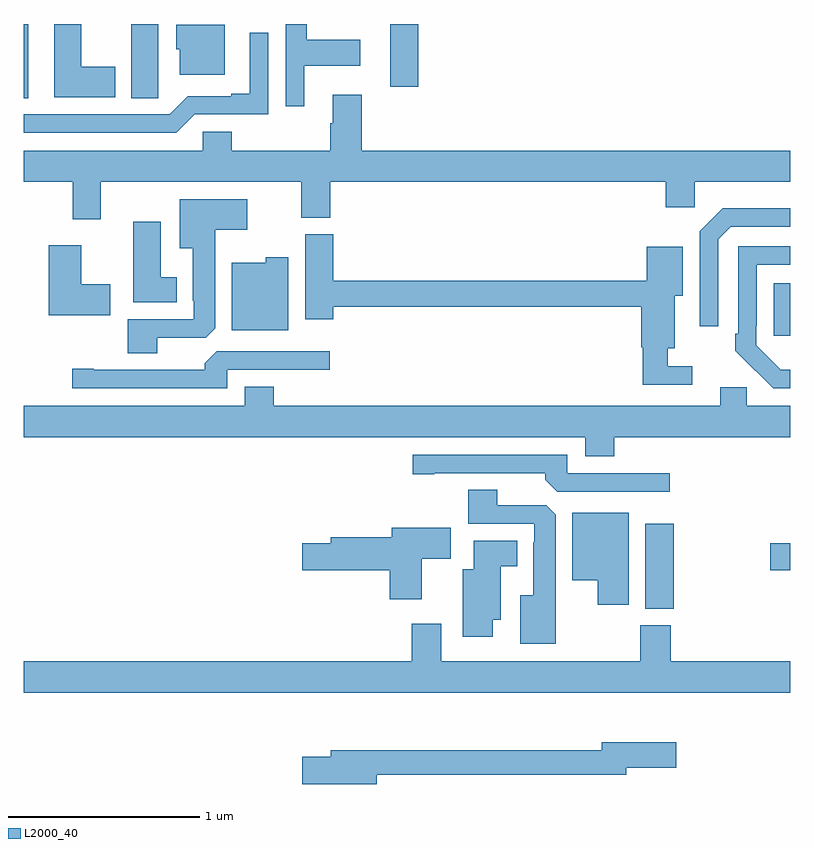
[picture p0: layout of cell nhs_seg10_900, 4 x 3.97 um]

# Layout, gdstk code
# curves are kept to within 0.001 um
import gdstk
lib = gdstk.Library(unit=1e-6, precision=1e-09)
def R(c, l, rs):  # rectangles x0, y0, x1, y1
    for r in rs: c.add(gdstk.rectangle(r[:2], r[2:], *l))
def P(c, l, *ps):  # polygons
    for p in ps: c.add(gdstk.Polygon(p, *l))
L2000_40 = (2000, 40)

nhs_seg10_900 = lib.new_cell('nhs_seg10_900')
R(nhs_seg10_900, L2000_40, [(160.244,1271.449,160.391,1271.893), (160.896,1271.65,161,1271.792), (160.913,1272.873,161,1273.147), (157,1274.113,157.024,1274.5), (158.912,1274.172,159.059,1274.5)])
P(nhs_seg10_900, L2000_40, [(157.701,1274.224),(157.702,1274.224),(157.702,1274.5),(157.562,1274.5),(157.562,1274.113),(157.701,1274.113)],
  [(157.477,1274.277),(157.3,1274.277),(157.3,1274.5),(157.16,1274.5),(157.16,1274.117),(157.477,1274.117)],
  [(158.464,1274.282),(158.755,1274.282),(158.755,1274.417),(158.476,1274.417),(158.476,1274.5),(158.367,1274.5),(158.367,1274.07),(158.464,1274.07)],
  [(158.05,1274.497),(157.796,1274.497),(157.796,1274.367),(157.814,1274.367),(157.814,1274.234),(158.05,1274.234)],
  [(157.893,1274.028),(158.277,1274.028),(158.277,1274.455),(158.18,1274.455),(158.18,1274.137),(158.084,1274.137),(158.084,1274.124),(157.857,1274.124),(157.761,1274.028),(157,1274.028),(157,1273.932),(157.797,1273.932)],
  [(157.402,1273.676),(158.447,1273.676),(158.447,1273.489),(158.6,1273.489),(158.6,1273.676),(160.349,1273.676),(160.349,1273.545),(160.5,1273.545),(160.5,1273.676),(161,1273.676),(161,1273.84),(158.765,1273.84),(158.765,1274.131),(158.612,1274.131),(158.612,1273.982),(158.6,1273.982),(158.6,1273.84),(158.087,1273.84),(158.087,1273.938),(157.935,1273.938),(157.935,1273.84),(157,1273.84),(157,1273.676),(157.255,1273.676),(157.255,1273.482),(157.402,1273.482)],
  [(157.696,1272.864),(157.95,1272.864),(157.999,1272.913),(157.999,1273.427),(158.167,1273.427),(158.167,1273.585),(157.814,1273.585),(157.814,1273.331),(157.883,1273.331),(157.883,1273.057),(157.887,1273.057),(157.887,1272.96),(157.544,1272.96),(157.544,1272.781),(157.696,1272.781)],
  [(160.623,1273.377),(160.689,1273.443),(161,1273.443),(161,1273.54),(160.648,1273.54),(160.527,1273.419),(160.527,1272.924),(160.623,1272.924)],
  [(157.798,1273.18),(157.714,1273.18),(157.714,1273.468),(157.571,1273.468),(157.571,1273.049),(157.798,1273.049)],
  [(160.489,1272.714),(160.36,1272.714),(160.36,1272.809),(160.396,1272.809),(160.396,1273.082),(160.438,1273.082),(160.438,1273.339),(160.25,1273.339),(160.25,1273.16),(158.615,1273.16),(158.615,1273.404),(158.468,1273.404),(158.468,1272.96),(158.615,1272.96),(158.615,1273.024),(160.223,1273.024),(160.223,1272.813),(160.231,1272.813),(160.231,1272.618),(160.489,1272.618)],
  [(157.453,1273.143),(157.3,1273.143),(157.3,1273.345),(157.13,1273.345),(157.13,1272.98),(157.453,1272.98)],
  [(161,1272.697),(160.95,1272.697),(160.821,1272.825),(160.821,1272.925),(160.824,1272.925),(160.824,1273.245),(161,1273.245),(161,1273.341),(160.728,1273.341),(160.728,1272.883),(160.713,1272.883),(160.713,1272.795),(160.91,1272.6),(161,1272.6)],
  [(158.38,1273.282),(158.262,1273.282),(158.262,1273.255),(158.087,1273.255),(158.087,1272.902),(158.38,1272.902)],
  [(158.061,1272.696),(158.596,1272.696),(158.596,1272.792),(158.007,1272.792),(157.946,1272.73),(157.946,1272.696),(157.366,1272.696),(157.366,1272.701),(157.254,1272.701),(157.254,1272.6),(158.061,1272.6)],
  [(159.929,1272.245),(160.082,1272.245),(160.082,1272.344),(161,1272.344),(161,1272.508),(160.773,1272.508),(160.773,1272.606),(160.634,1272.606),(160.634,1272.508),(158.306,1272.508),(158.306,1272.607),(158.153,1272.607),(158.153,1272.508),(157,1272.508),(157,1272.344),(159.929,1272.344)],
  [(160.372,1272.156),(159.837,1272.156),(159.837,1272.252),(159.03,1272.252),(159.03,1272.151),(159.142,1272.151),(159.142,1272.156),(159.722,1272.156),(159.722,1272.122),(159.783,1272.06),(160.372,1272.06)],
  [(159.775,1271.939),(159.726,1271.988),(159.472,1271.988),(159.472,1272.071),(159.32,1272.071),(159.32,1271.892),(159.663,1271.892),(159.663,1271.795),(159.659,1271.795),(159.659,1271.521),(159.59,1271.521),(159.59,1271.267),(159.775,1271.267)],
  [(160.156,1271.95),(159.863,1271.95),(159.863,1271.597),(159.995,1271.597),(159.995,1271.469),(160.156,1271.469)],
  [(159.076,1271.71),(159.229,1271.71),(159.229,1271.872),(158.921,1271.872),(158.921,1271.822),(158.603,1271.822),(158.603,1271.792),(158.454,1271.792),(158.454,1271.65),(158.909,1271.65),(158.909,1271.499),(159.076,1271.499)],
  [(159.448,1271.393),(159.49,1271.393),(159.49,1271.672),(159.574,1271.672),(159.574,1271.803),(159.347,1271.803),(159.347,1271.656),(159.29,1271.656),(159.29,1271.304),(159.448,1271.304)],
  [(161,1271.176),(160.376,1271.176),(160.376,1271.364),(160.216,1271.364),(160.216,1271.176),(159.178,1271.176),(159.178,1271.371),(159.026,1271.371),(159.026,1271.176),(157,1271.176),(157,1271.012),(161,1271.012)],
  [(158.842,1270.582),(160.144,1270.582),(160.144,1270.619),(160.405,1270.619),(160.405,1270.753),(160.016,1270.753),(160.016,1270.711),(158.603,1270.711),(158.603,1270.677),(158.454,1270.677),(158.454,1270.535),(158.842,1270.535)])

lib.write_gds('nhs_seg10_900.gds')
